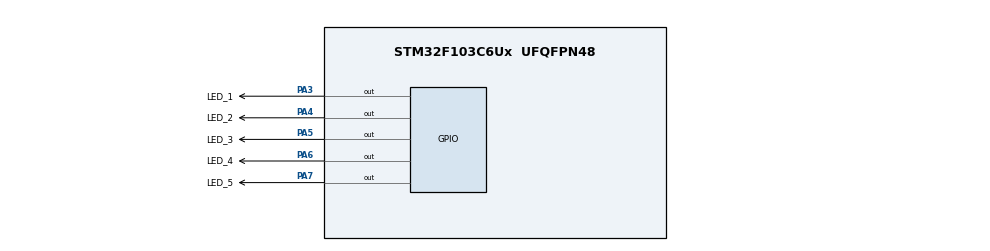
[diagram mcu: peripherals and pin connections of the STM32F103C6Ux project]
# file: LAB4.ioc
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Mcu.Family=STM32F1
Mcu.Name=STM32F103C6Ux
Mcu.Package=UFQFPN48
NVIC.PriorityGroup=NVIC_PRIORITYGROUP_4
NVIC.TIM2_IRQn=true\:0\:0\:false\:false\:true\:true\:true\:true
PA3.GPIO_Label=LED_1
PA3.Signal=GPIO_Output
PA4.GPIO_Label=LED_2
PA4.Signal=GPIO_Output
PA5.GPIO_Label=LED_3
PA5.Signal=GPIO_Output
PA6.GPIO_Label=LED_4
PA6.Signal=GPIO_Output
PA7.GPIO_Label=LED_5
PA7.Signal=GPIO_Output
ProjectManager.HeapSize=0x200
ProjectManager.StackSize=0x400
ProjectManager.TargetToolchain=STM32CubeIDE
RCC.APB1Freq_Value=8000000
RCC.APB2Freq_Value=8000000
TIM2.Period=10
TIM2.Prescaler=7999
VP_TIM2_VS_ClockSourceINT.Mode=Internal
board=custom

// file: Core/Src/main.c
/* USER CODE BEGIN Header */
/**
  ******************************************************************************
  * @file           : main.c
  * @brief          : Main program body
  ******************************************************************************
  * @attention
  *
  * Copyright (c) 2022 STMicroelectronics.
  * All rights reserved.
  *
  * This software is licensed under terms that can be found in the LICENSE file
  * in the root directory of this software component.
  * If no LICENSE file comes with this software, it is provided AS-IS.
  *
  ******************************************************************************
  */
/* USER CODE END Header */
#include "main.h"

/* USER CODE BEGIN Includes */
#include "scheduler.h"
/* USER CODE END Includes */

TIM_HandleTypeDef htim2;

void SystemClock_Config(void);
static void MX_GPIO_Init(void);
static void MX_TIM2_Init(void);

/* USER CODE BEGIN 0 */
void Init_Led(){
	HAL_GPIO_WritePin(GPIOA, LED_1_Pin | LED_2_Pin |
								LED_3_Pin | LED_4_Pin | LED_5_Pin , SET);
}

void ToggleLed1(){
	HAL_GPIO_TogglePin(LED_1_GPIO_Port, LED_1_Pin);
}

void ToggleLed2(){
	HAL_GPIO_TogglePin(LED_2_GPIO_Port, LED_2_Pin);
}

void ToggleLed3(){
	HAL_GPIO_TogglePin(LED_3_GPIO_Port, LED_3_Pin);
}

void ToggleLed4(){
	HAL_GPIO_TogglePin(LED_4_GPIO_Port, LED_4_Pin);
}

void ToggleLed5(){
	HAL_GPIO_TogglePin(LED_5_GPIO_Port, LED_5_Pin);
}
/* USER CODE END 0 */

int main(void)
{

  /* MCU Configuration--------------------------------------------------------*/

  /* Reset of all peripherals, Initializes the Flash interface and the Systick. */
  HAL_Init();

  /* Configure the system clock */
  SystemClock_Config();

  /* Initialize all configured peripherals */
  MX_GPIO_Init();
  MX_TIM2_Init();
  /* USER CODE BEGIN 2 */
  HAL_TIM_Base_Start_IT(&htim2);
  /* USER CODE END 2 */

  /* Infinite loop */
  /* USER CODE BEGIN WHILE */

  Init_Led();

  SCH_Init();

  SCH_Add_Task(ToggleLed1, 500, 500);

  SCH_Add_Task(ToggleLed2, 500, 1000);

  SCH_Add_Task(ToggleLed3, 500, 1500);

  SCH_Add_Task(ToggleLed4, 500, 2000);

  SCH_Add_Task(ToggleLed5, 2000, 0);

  while (1)
  {
	  SCH_Dispatch_Tasks();
    /* USER CODE END WHILE */

  }
}

void SystemClock_Config(void)
{
  RCC_OscInitTypeDef RCC_OscInitStruct = {0};
  RCC_ClkInitTypeDef RCC_ClkInitStruct = {0};

  /** Initializes the RCC Oscillators according to the specified parameters
  * in the RCC_OscInitTypeDef structure.
  */
  RCC_OscInitStruct.OscillatorType = RCC_OSCILLATORTYPE_HSI;
  RCC_OscInitStruct.HSIState = RCC_HSI_ON;
  RCC_OscInitStruct.HSICalibrationValue = RCC_HSICALIBRATION_DEFAULT;
  RCC_OscInitStruct.PLL.PLLState = RCC_PLL_NONE;
  if (HAL_RCC_OscConfig(&RCC_OscInitStruct) != HAL_OK)
  {
    Error_Handler();
  }

  /** Initializes the CPU, AHB and APB buses clocks
  */
  RCC_ClkInitStruct.ClockType = RCC_CLOCKTYPE_HCLK|RCC_CLOCKTYPE_SYSCLK
                              |RCC_CLOCKTYPE_PCLK1|RCC_CLOCKTYPE_PCLK2;
  RCC_ClkInitStruct.SYSCLKSource = RCC_SYSCLKSOURCE_HSI;
  RCC_ClkInitStruct.AHBCLKDivider = RCC_SYSCLK_DIV1;
  RCC_ClkInitStruct.APB1CLKDivider = RCC_HCLK_DIV1;
  RCC_ClkInitStruct.APB2CLKDivider = RCC_HCLK_DIV1;

  if (HAL_RCC_ClockConfig(&RCC_ClkInitStruct, FLASH_LATENCY_0) != HAL_OK)
  {
    Error_Handler();
  }
}

static void MX_TIM2_Init(void)
{

  TIM_ClockConfigTypeDef sClockSourceConfig = {0};
  TIM_MasterConfigTypeDef sMasterConfig = {0};

  htim2.Instance = TIM2;
  htim2.Init.Prescaler = 7999;
  htim2.Init.CounterMode = TIM_COUNTERMODE_UP;
  htim2.Init.Period = 10;
  htim2.Init.ClockDivision = TIM_CLOCKDIVISION_DIV1;
  htim2.Init.AutoReloadPreload = TIM_AUTORELOAD_PRELOAD_DISABLE;
  if (HAL_TIM_Base_Init(&htim2) != HAL_OK)
  {
    Error_Handler();
  }
  sClockSourceConfig.ClockSource = TIM_CLOCKSOURCE_INTERNAL;
  if (HAL_TIM_ConfigClockSource(&htim2, &sClockSourceConfig) != HAL_OK)
  {
    Error_Handler();
  }
  sMasterConfig.MasterOutputTrigger = TIM_TRGO_RESET;
  sMasterConfig.MasterSlaveMode = TIM_MASTERSLAVEMODE_DISABLE;
  if (HAL_TIMEx_MasterConfigSynchronization(&htim2, &sMasterConfig) != HAL_OK)
  {
    Error_Handler();
  }

}

static void MX_GPIO_Init(void)
{
  GPIO_InitTypeDef GPIO_InitStruct = {0};

  /* GPIO Ports Clock Enable */
  __HAL_RCC_GPIOA_CLK_ENABLE();

  /*Configure GPIO pin Output Level */
  HAL_GPIO_WritePin(GPIOA, LED_1_Pin|LED_2_Pin|LED_3_Pin|LED_4_Pin
                          |LED_5_Pin, GPIO_PIN_RESET);

  /*Configure GPIO pins : LED_1_Pin LED_2_Pin LED_3_Pin LED_4_Pin
                           LED_5_Pin */
  GPIO_InitStruct.Pin = LED_1_Pin|LED_2_Pin|LED_3_Pin|LED_4_Pin
                          |LED_5_Pin;
  GPIO_InitStruct.Mode = GPIO_MODE_OUTPUT_PP;
  GPIO_InitStruct.Pull = GPIO_NOPULL;
  GPIO_InitStruct.Speed = GPIO_SPEED_FREQ_LOW;
  HAL_GPIO_Init(GPIOA, &GPIO_InitStruct);

}

/* USER CODE BEGIN 4 */

void HAL_TIM_PeriodElapsedCallback(TIM_HandleTypeDef *htim){
	SCH_Update();
}
/* USER CODE END 4 */

void Error_Handler(void)
{
  __disable_irq();
  while (1)
  {
  }
}
